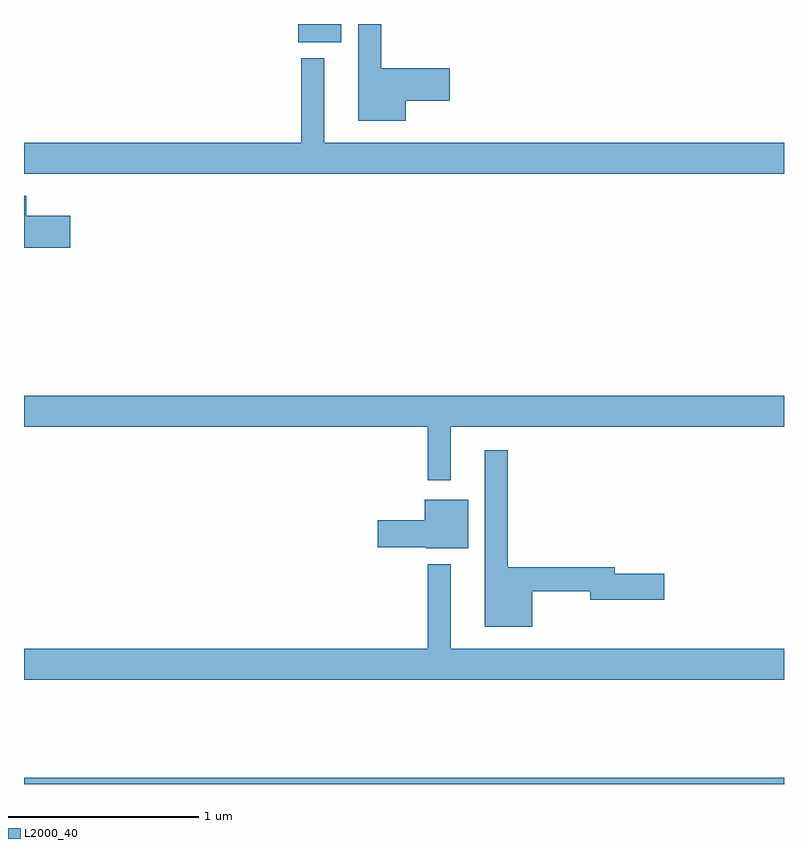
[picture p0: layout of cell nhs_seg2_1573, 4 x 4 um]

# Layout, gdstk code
import gdstk
lib = gdstk.Library(unit=1e-6, precision=1e-09)
def R(c, l, rs):  # rectangles x0, y0, x1, y1
    for r in rs: c.add(gdstk.rectangle(r[:2], r[2:], *l))
def P(c, l, *ps):  # polygons
    for p in ps: c.add(gdstk.Polygon(p, *l))
L2000_40 = (2000, 40)

nhs_seg2_1573 = lib.new_cell('nhs_seg2_1573')
R(nhs_seg2_1573, L2000_40, [(193,601.8,197,601.832), (194.444,605.705,194.671,605.8)])
P(nhs_seg2_1573, L2000_40, [(195.01,605.396),(195.241,605.396),(195.241,605.567),(194.881,605.567),(194.881,605.8),(194.759,605.8),(194.759,605.291),(195.01,605.291)],
  [(197,605.176),(194.581,605.176),(194.581,605.62),(194.46,605.62),(194.46,605.176),(193,605.176),(193,605.012),(197,605.012)],
  [(193.243,604.792),(193.012,604.792),(193.012,604.897),(193,604.897),(193,604.622),(193.243,604.622)],
  [(193,603.68),(195.126,603.68),(195.126,603.399),(195.247,603.399),(195.247,603.68),(197,603.68),(197,603.844),(193,603.844)],
  [(195.676,602.814),(195.98,602.814),(195.98,602.771),(196.369,602.771),(196.369,602.906),(196.108,602.906),(196.108,602.942),(195.547,602.942),(195.547,603.556),(195.425,603.556),(195.425,602.627),(195.676,602.627)],
  [(195.337,603.295),(195.11,603.295),(195.11,603.189),(194.862,603.189),(194.862,603.047),(195.114,603.047),(195.114,603.041),(195.337,603.041)],
  [(197,602.512),(195.247,602.512),(195.247,602.956),(195.126,602.956),(195.126,602.512),(193,602.512),(193,602.348),(197,602.348)])

lib.write_gds('nhs_seg2_1573.gds')
